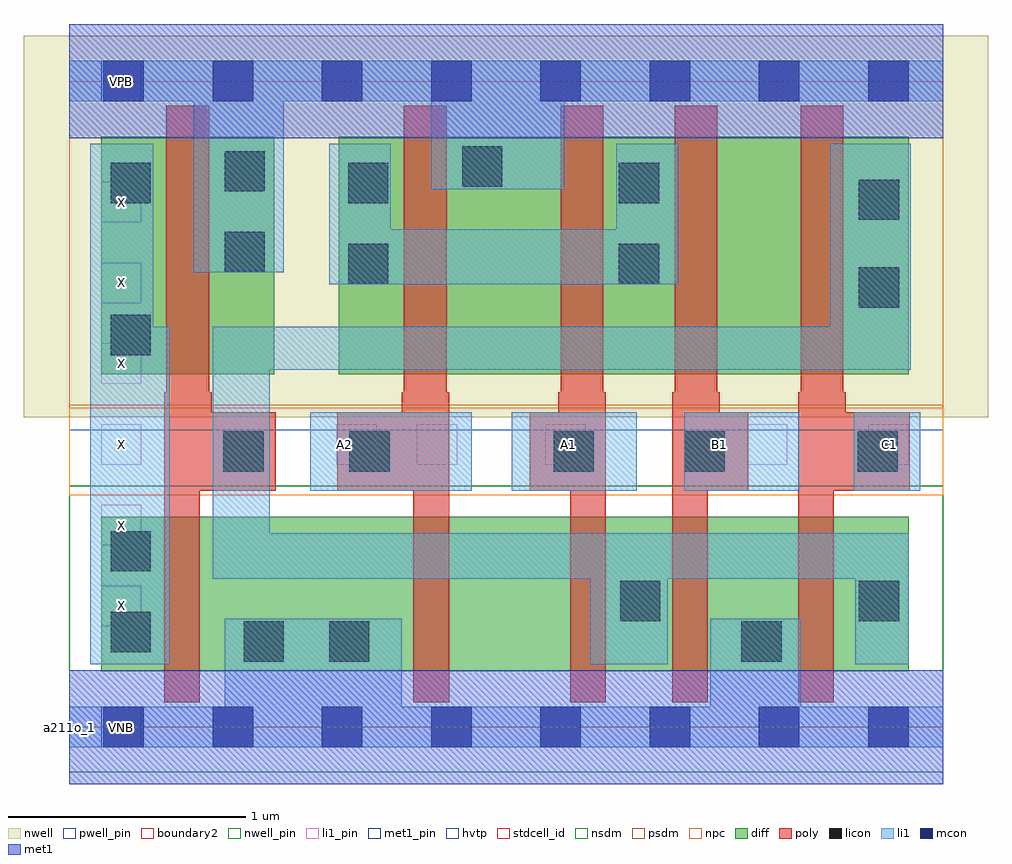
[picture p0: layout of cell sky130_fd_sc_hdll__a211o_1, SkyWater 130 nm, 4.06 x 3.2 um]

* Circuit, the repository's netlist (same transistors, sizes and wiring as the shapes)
* Copyright 2020 The SkyWater PDK Authors
*
* Licensed under the Apache License, Version 2.0 (the "License");
* you may not use this file except in compliance with the License.
* You may obtain a copy of the License at
*
*     https://www.apache.org/licenses/LICENSE-2.0
*
* Unless required by applicable law or agreed to in writing, software
* distributed under the License is distributed on an "AS IS" BASIS,
* WITHOUT WARRANTIES OR CONDITIONS OF ANY KIND, either express or implied.
* See the License for the specific language governing permissions and
* limitations under the License.
*
* SPDX-License-Identifier: Apache-2.0

.SUBCKT sky130_fd_sc_hdll__a211o_1 A1 A2 B1 C1 VGND VNB VPB VPWR X
*.PININFO A1:I A2:I B1:I C1:I VGND:I VNB:I VPB:I VPWR:I X:O
MMPA0 pndA A1 VPWR VPB sky130_fd_pr__pfet_01v8_hvt m=1 w=1.0U l=0.18U mult=1 sa=0.265
+ sb=0.265 sd=0.28 area=0.063 perim=1.14
MMPA1 pndA A2 VPWR VPB sky130_fd_pr__pfet_01v8_hvt m=1 w=1.0U l=0.18U mult=1 sa=0.265
+ sb=0.265 sd=0.28 area=0.063 perim=1.14
MMPB0 pndB B1 pndA VPB sky130_fd_pr__pfet_01v8_hvt m=1 w=1.0U l=0.18U mult=1 sa=0.265
+ sb=0.265 sd=0.28 area=0.063 perim=1.14
MMPC0 y C1 pndB VPB sky130_fd_pr__pfet_01v8_hvt m=1 w=1.0U l=0.18U mult=1 sa=0.265
+ sb=0.265 sd=0.28 area=0.063 perim=1.14
MMIPX X y VPWR VPB sky130_fd_pr__pfet_01v8_hvt m=1 w=1.0U l=0.18U mult=1 sa=0.265
+ sb=0.265 sd=0.28 area=0.063 perim=1.14
MMNA0 y A1 sndA1 VNB sky130_fd_pr__nfet_01v8 m=1 w=0.65U l=0.15U mult=1 sa=0.265
+ sb=0.265 sd=0.28 area=0.063 perim=1.14
MMNA1 sndA1 A2 VGND VNB sky130_fd_pr__nfet_01v8 m=1 w=0.65U l=0.15U mult=1 sa=0.265
+ sb=0.265 sd=0.28 area=0.063 perim=1.14
MMNB0 y B1 VGND VNB sky130_fd_pr__nfet_01v8 m=1 w=0.65U l=0.15U mult=1 sa=0.265
+ sb=0.265 sd=0.28 area=0.063 perim=1.14
MMNC0 y C1 VGND VNB sky130_fd_pr__nfet_01v8 m=1 w=0.65U l=0.15U mult=1 sa=0.265
+ sb=0.265 sd=0.28 area=0.063 perim=1.14
MMINX X y VGND VNB sky130_fd_pr__nfet_01v8 m=1 w=0.65U l=0.15U mult=1 sa=0.265
+ sb=0.265 sd=0.28 area=0.063 perim=1.14
.ENDS sky130_fd_sc_hdll__a211o_1

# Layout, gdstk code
import gdstk
lib = gdstk.Library(unit=1e-6, precision=1e-09)
def R(c, l, rs):  # rectangles x0, y0, x1, y1
    for r in rs: c.add(gdstk.rectangle(r[:2], r[2:], *l))
def A(c, l, x, y, w, h, nx, ny, dx, dy):  # array of equal rectangles
    R(c, l, [(x+i*dx, y+j*dy, x+i*dx+w, y+j*dy+h) for i in range(nx) for j in range(ny)])
def P(c, l, *ps):  # polygons
    for p in ps: c.add(gdstk.Polygon(p, *l))
nwell_pin = (64, 16)
nwell = (64, 20)
diff = (65, 20)
poly = (66, 20)
licon = (66, 44)
li1_pin = (67, 16)
li1 = (67, 20)
mcon = (67, 44)
met1_pin = (68, 16)
met1 = (68, 20)
hvtp = (78, 44)
stdcell_id = (81, 4)
nsdm = (93, 44)
psdm = (94, 20)
npc = (95, 20)
pwell_pin = (122, 16)
boundary2 = (236, 0)

sky130_fd_sc_hdll__a211o = lib.new_cell('sky130_fd_sc_hdll__a211o_1')
R(sky130_fd_sc_hdll__a211o, nwell_pin, [(0.135,2.635,0.305,2.805)])
R(sky130_fd_sc_hdll__a211o, nwell, [(-0.19,1.305,3.87,2.91)])
R(sky130_fd_sc_hdll__a211o, diff, [(0.135,0.235,3.535,0.885), (0.135,1.485,0.865,2.485), (1.135,1.485,3.535,2.485)])
P(sky130_fd_sc_hdll__a211o, poly, [(0.87,1.325),(0.6,1.325),(0.6,1.41),(0.59,1.41),(0.59,2.615),(0.41,2.615),(0.41,1.41),(0.4,1.41),(0.4,0.105),(0.55,0.105),(0.55,0.995),(0.87,0.995)],
  [(1.6,1.41),(1.59,1.41),(1.59,2.615),(1.41,2.615),(1.41,1.41),(1.4,1.41),(1.4,1.325),(1.13,1.325),(1.13,0.995),(1.45,0.995),(1.45,0.105),(1.6,0.105)],
  [(2.26,1.41),(2.25,1.41),(2.25,2.615),(2.07,2.615),(2.07,1.41),(2.06,1.41),(2.06,1.325),(1.94,1.325),(1.94,0.995),(2.11,0.995),(2.11,0.105),(2.26,0.105)],
  [(2.86,1.325),(2.74,1.325),(2.74,1.41),(2.73,1.41),(2.73,2.615),(2.55,2.615),(2.55,1.41),(2.54,1.41),(2.54,0.105),(2.69,0.105),(2.69,0.995),(2.86,0.995)],
  [(3.54,1.325),(3.27,1.325),(3.27,1.41),(3.26,1.41),(3.26,2.615),(3.08,2.615),(3.08,1.41),(3.07,1.41),(3.07,0.105),(3.22,0.105),(3.22,0.995),(3.54,0.995)])
R(sky130_fd_sc_hdll__a211o, licon, [(0.735,0.275,0.905,0.445), (1.095,0.275,1.265,0.445), (2.83,0.275,3,0.445), (0.175,0.315,0.345,0.485), (2.32,0.445,2.49,0.615), (3.325,0.445,3.495,0.615), (0.175,0.655,0.345,0.825), (0.65,1.075,0.82,1.245), (1.18,1.075,1.35,1.245), (2.04,1.075,2.21,1.245), (2.59,1.075,2.76,1.245), (3.32,1.075,3.49,1.245), (0.175,1.565,0.345,1.735), (3.325,1.765,3.495,1.935), (1.175,1.865,1.345,2.035), (2.315,1.865,2.485,2.035), (0.655,1.915,0.825,2.085), (3.325,2.135,3.495,2.305), (0.175,2.205,0.345,2.375), (1.175,2.205,1.345,2.375), (2.315,2.205,2.485,2.375), (0.655,2.255,0.825,2.425), (1.655,2.275,1.825,2.445)])
A(sky130_fd_sc_hdll__a211o, li1_pin, 0.135, 0.425, 0.17, 0.17, 1, 6, 0, 0.34)
R(sky130_fd_sc_hdll__a211o, li1_pin, [(1.125,1.105,1.295,1.275), (1.465,1.105,1.635,1.275), (2.005,1.105,2.175,1.275), (2.855,1.105,3.025,1.275), (3.365,1.105,3.535,1.275)])
R(sky130_fd_sc_hdll__a211o, li1, [(1.015,0.995,1.695,1.325), (1.865,0.995,2.39,1.325), (2.59,0.995,3.075,1.325), (3.305,0.995,3.585,1.325)])
P(sky130_fd_sc_hdll__a211o, li1, [(3.535,0.815),(0.845,0.815),(0.845,1.505),(3.545,1.505),(3.545,2.455),(3.205,2.455),(3.205,1.685),(0.605,1.685),(0.605,0.625),(2.195,0.625),(2.195,0.265),(2.52,0.265),(2.52,0.625),(3.31,0.625),(3.31,0.265),(3.535,0.265)],
  [(2.565,2.455),(2.305,2.455),(2.305,2.095),(1.355,2.095),(1.355,2.455),(1.095,2.455),(1.095,1.865),(2.565,1.865)],
  [(0.09,0.265),(0.09,2.455),(0.355,2.455),(0.355,1.685),(0.425,1.685),(0.425,0.265)],
  [(3.68,0.085),(3.08,0.085),(3.08,0.455),(2.7,0.455),(2.7,0.085),(1.4,0.085),(1.4,0.455),(0.655,0.455),(0.655,0.085),(0,0.085),(0,-0.085),(3.68,-0.085)],
  [(3.68,2.805),(0,2.805),(0,2.635),(0.525,2.635),(0.525,1.915),(0.905,1.915),(0.905,2.635),(1.525,2.635),(1.525,2.265),(2.085,2.265),(2.085,2.635),(3.68,2.635)])
A(sky130_fd_sc_hdll__a211o, mcon, 0.145, -0.085, 0.17, 0.17, 8, 2, 0.46, 2.72)
R(sky130_fd_sc_hdll__a211o, met1_pin, [(0.135,-0.085,0.305,0.085), (0.135,2.635,0.305,2.805)])
R(sky130_fd_sc_hdll__a211o, met1, [(0,-0.24,3.68,0.24), (0,2.48,3.68,2.96)])
R(sky130_fd_sc_hdll__a211o, hvtp, [(0,1.25,3.68,2.72)])
R(sky130_fd_sc_hdll__a211o, stdcell_id, [(0,0,3.68,2.72)])
R(sky130_fd_sc_hdll__a211o, nsdm, [(0,-0.19,3.68,1.015)])
R(sky130_fd_sc_hdll__a211o, psdm, [(0,1.355,3.68,2.91)])
R(sky130_fd_sc_hdll__a211o, npc, [(0,0.975,3.68,1.345)])
R(sky130_fd_sc_hdll__a211o, pwell_pin, [(0.135,-0.085,0.305,0.085)])
R(sky130_fd_sc_hdll__a211o, boundary2, [(0,0,3.68,2.72)])
sky130_fd_sc_hdll__a211o.add(gdstk.Label('VNB', (0.22,0), layer=64, texttype=59))
sky130_fd_sc_hdll__a211o.add(gdstk.Label('VPB', (0.22,2.72), layer=64, texttype=5))
sky130_fd_sc_hdll__a211o.add(gdstk.Label('VGND', (0.23,0), layer=68, texttype=5))
sky130_fd_sc_hdll__a211o.add(gdstk.Label('VPWR', (0.23,2.72), layer=68, texttype=5))
sky130_fd_sc_hdll__a211o.add(gdstk.Label('X', (0.22,2.21), layer=67, texttype=5))
sky130_fd_sc_hdll__a211o.add(gdstk.Label('X', (0.22,0.51), layer=67, texttype=5))
sky130_fd_sc_hdll__a211o.add(gdstk.Label('A2', (1.16,1.19), layer=67, texttype=5))
sky130_fd_sc_hdll__a211o.add(gdstk.Label('X', (0.22,1.87), layer=67, texttype=5))
sky130_fd_sc_hdll__a211o.add(gdstk.Label('B1', (2.74,1.19), layer=67, texttype=5))
sky130_fd_sc_hdll__a211o.add(gdstk.Label('X', (0.22,1.19), layer=67, texttype=5))
sky130_fd_sc_hdll__a211o.add(gdstk.Label('A1', (2.105,1.19), layer=67, texttype=5))
sky130_fd_sc_hdll__a211o.add(gdstk.Label('X', (0.22,0.85), layer=67, texttype=5))
sky130_fd_sc_hdll__a211o.add(gdstk.Label('X', (0.22,1.53), layer=67, texttype=5))
sky130_fd_sc_hdll__a211o.add(gdstk.Label('C1', (3.455,1.19), layer=67, texttype=5))
sky130_fd_sc_hdll__a211o.add(gdstk.Label('a211o_1', (0,0), layer=83, texttype=44))

lib.write_gds('sky130_fd_sc_hdll__a211o_1.gds')
